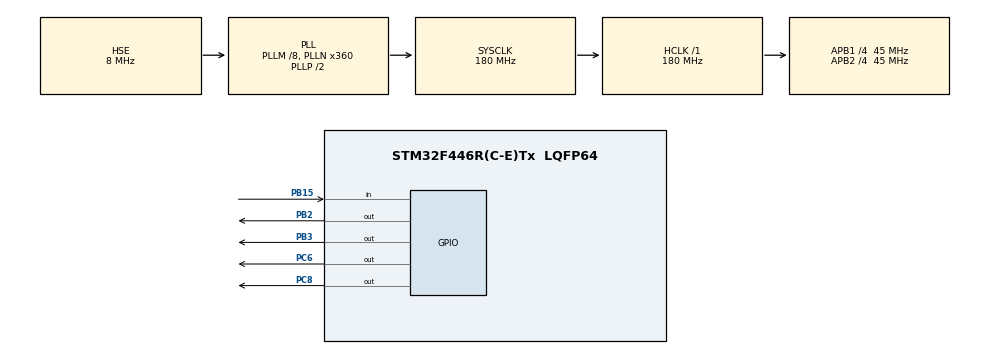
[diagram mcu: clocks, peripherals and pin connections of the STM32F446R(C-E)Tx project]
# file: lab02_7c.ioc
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FREERTOS.Tasks01=defaultTask,24,128,StartDefaultTask,Default,NULL,Dynamic,NULL,NULL;failSafeTask,40,128,failSafeThread,Default,NULL,Dynamic,NULL,NULL
FREERTOS.configUSE_NEWLIB_REENTRANT=1
Mcu.Family=STM32F4
Mcu.Name=STM32F446R(C-E)Tx
Mcu.Package=LQFP64
NVIC.PriorityGroup=NVIC_PRIORITYGROUP_4
NVIC.TIM7_IRQn=true\:15\:0\:false\:false\:true\:false\:false\:true\:true
NVIC.TimeBase=TIM7_IRQn
NVIC.TimeBaseIP=TIM7
NVIC.WWDG_IRQn=true\:5\:0\:false\:false\:true\:true\:true\:true\:true
PA13.Mode=Serial_Wire
PA13.Signal=SYS_JTMS-SWDIO
PA14.Mode=Serial_Wire
PA14.Signal=SYS_JTCK-SWCLK
PB15.Signal=GPIO_Input
PB2.Signal=GPIO_Output
PB3.Signal=GPIO_Output
PC6.Signal=GPIO_Output
PC8.Signal=GPIO_Output
PH0-OSC_IN.Mode=HSE-External-Oscillator
PH0-OSC_IN.Signal=RCC_OSC_IN
PH1-OSC_OUT.Mode=HSE-External-Oscillator
PH1-OSC_OUT.Signal=RCC_OSC_OUT
ProjectManager.HeapSize=0x200
ProjectManager.StackSize=0x400
ProjectManager.TargetToolchain=STM32CubeIDE
RCC.AHBFreq_Value=180000000
RCC.APB1CLKDivider=RCC_HCLK_DIV4
RCC.APB1Freq_Value=45000000
RCC.APB1TimFreq_Value=90000000
RCC.APB2CLKDivider=RCC_HCLK_DIV4
RCC.APB2Freq_Value=45000000
RCC.APB2TimFreq_Value=90000000
RCC.CortexFreq_Value=180000000
RCC.HCLKFreq_Value=180000000
RCC.HSE_VALUE=8000000
RCC.PLLM=8
RCC.PLLN=360
RCC.PLLSourceVirtual=RCC_PLLSOURCE_HSE
RCC.SYSCLKFreq_VALUE=180000000
RCC.SYSCLKSource=RCC_SYSCLKSOURCE_PLLCLK
RCC.USBFreq_Value=180000000
RCC.VCOOutputFreq_Value=360000000
VP_FREERTOS_VS_CMSIS_V2.Mode=CMSIS_V2
VP_SYS_VS_tim7.Mode=TIM7
VP_WWDG_VS_WWDG.Mode=WWDG_Activate
WWDG.Counter=127
WWDG.EWIMode=WWDG_EWI_ENABLE
WWDG.Prescaler=WWDG_PRESCALER_8
WWDG.Window=127
board=custom

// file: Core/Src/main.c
/* USER CODE BEGIN Header */
/**
  ******************************************************************************
  * @file           : main.c
  * @brief          : Main program body
  ******************************************************************************
  * @attention
  *
  * Copyright (c) 2026 STMicroelectronics.
  * All rights reserved.
  *
  * This software is licensed under terms that can be found in the LICENSE file
  * in the root directory of this software component.
  * If no LICENSE file comes with this software, it is provided AS-IS.
  *
  ******************************************************************************
  */
/* USER CODE END Header */
#include "main.h"
#include "cmsis_os.h"

WWDG_HandleTypeDef hwwdg;

/* Definitions for defaultTask */
osThreadId_t defaultTaskHandle;
const osThreadAttr_t defaultTask_attributes = {
  .name = "defaultTask",
  .stack_size = 128 * 4,
  .priority = (osPriority_t) osPriorityNormal,
};
/* Definitions for failSafeTask */
osThreadId_t failSafeTaskHandle;
const osThreadAttr_t failSafeTask_attributes = {
  .name = "failSafeTask",
  .stack_size = 128 * 4,
  .priority = (osPriority_t) osPriorityHigh,
};
/* USER CODE BEGIN PV */
int running=1;
GPIO_TypeDef *ledPort[4] = {GPIOB,GPIOC,GPIOC,GPIOB};
int ledGPIO[4] = {GPIO_PIN_2,GPIO_PIN_6,GPIO_PIN_8,GPIO_PIN_3};
/* USER CODE END PV */

void SystemClock_Config(void);
static void MX_GPIO_Init(void);
static void MX_WWDG_Init(void);
void StartDefaultTask(void *argument);
void failSafeThread(void *argument);

/* USER CODE BEGIN PFP */
void failSafe();
/* USER CODE END PFP */

/* USER CODE BEGIN 0 */
void HAL_WWDG_EarlyWakeupCallback(WWDG_HandleTypeDef *hwwdg){
// We have only one WWDG on F446Re so no source checked
	if(running){ // Prolong the reset
	  HAL_WWDG_Refresh(hwwdg);
	  running=0;
	}
}

void failSafe(){
  //Start fail-save state
  int i,j;
  //Do anything before reboot
  HAL_GPIO_WritePin(ledPort[3],ledGPIO[3],1);
    for(j=0;j<4;j++){
	  for(i=0;i<3;i++){
		 HAL_GPIO_WritePin(ledPort[i],ledGPIO[i],1);
		 HAL_Delay(30);
		 HAL_WWDG_Refresh(&hwwdg);
		 HAL_GPIO_WritePin(ledPort[i],ledGPIO[i],0);
	  }
	}
  HAL_GPIO_WritePin(ledPort[3],ledGPIO[3],0);
  while(1); //Wait for reset
}
/* USER CODE END 0 */

int main(void)
{

  /* USER CODE BEGIN 1 */
  int i;
  /* USER CODE END 1 */

  /* MCU Configuration--------------------------------------------------------*/

  /* Reset of all peripherals, Initializes the Flash interface and the Systick. */
  HAL_Init();

  /* Configure the system clock */
  SystemClock_Config();

  /* Initialize all configured peripherals */
  MX_GPIO_Init();
  MX_WWDG_Init();
  /* USER CODE BEGIN 2 */
  HAL_GPIO_WritePin(ledPort[3],ledGPIO[3],0);
  for(i=0;i<3;i++){
	 HAL_GPIO_WritePin(ledPort[i],ledGPIO[i],1);
  }
  HAL_Delay(30);
  for(i=0;i<3;i++){
	 HAL_GPIO_WritePin(ledPort[i],ledGPIO[i],0);
  }
  /* USER CODE END 2 */

  /* Init scheduler */
  osKernelInitialize();

  /* Create the thread(s) */
  /* creation of defaultTask */
  defaultTaskHandle = osThreadNew(StartDefaultTask, NULL, &defaultTask_attributes);

  /* creation of failSafeTask */
  failSafeTaskHandle = osThreadNew(failSafeThread, NULL, &failSafeTask_attributes);

  /* Start scheduler */
  osKernelStart();

  /* We should never get here as control is now taken by the scheduler */

  /* Infinite loop */
  while (1)
  {

  }
}

void SystemClock_Config(void)
{
  RCC_OscInitTypeDef RCC_OscInitStruct = {0};
  RCC_ClkInitTypeDef RCC_ClkInitStruct = {0};

  /** Configure the main internal regulator output voltage
  */
  __HAL_RCC_PWR_CLK_ENABLE();
  __HAL_PWR_VOLTAGESCALING_CONFIG(PWR_REGULATOR_VOLTAGE_SCALE1);

  /** Initializes the RCC Oscillators according to the specified parameters
  * in the RCC_OscInitTypeDef structure.
  */
  RCC_OscInitStruct.OscillatorType = RCC_OSCILLATORTYPE_HSE;
  RCC_OscInitStruct.HSEState = RCC_HSE_ON;
  RCC_OscInitStruct.PLL.PLLState = RCC_PLL_ON;
  RCC_OscInitStruct.PLL.PLLSource = RCC_PLLSOURCE_HSE;
  RCC_OscInitStruct.PLL.PLLM = 8;
  RCC_OscInitStruct.PLL.PLLN = 360;
  RCC_OscInitStruct.PLL.PLLP = RCC_PLLP_DIV2;
  RCC_OscInitStruct.PLL.PLLQ = 2;
  RCC_OscInitStruct.PLL.PLLR = 2;
  if (HAL_RCC_OscConfig(&RCC_OscInitStruct) != HAL_OK)
  {
    Error_Handler();
  }

  /** Activate the Over-Drive mode
  */
  if (HAL_PWREx_EnableOverDrive() != HAL_OK)
  {
    Error_Handler();
  }

  /** Initializes the CPU, AHB and APB buses clocks
  */
  RCC_ClkInitStruct.ClockType = RCC_CLOCKTYPE_HCLK|RCC_CLOCKTYPE_SYSCLK
                              |RCC_CLOCKTYPE_PCLK1|RCC_CLOCKTYPE_PCLK2;
  RCC_ClkInitStruct.SYSCLKSource = RCC_SYSCLKSOURCE_PLLCLK;
  RCC_ClkInitStruct.AHBCLKDivider = RCC_SYSCLK_DIV1;
  RCC_ClkInitStruct.APB1CLKDivider = RCC_HCLK_DIV4;
  RCC_ClkInitStruct.APB2CLKDivider = RCC_HCLK_DIV4;

  if (HAL_RCC_ClockConfig(&RCC_ClkInitStruct, FLASH_LATENCY_5) != HAL_OK)
  {
    Error_Handler();
  }
}

static void MX_WWDG_Init(void)
{

  hwwdg.Instance = WWDG;
  hwwdg.Init.Prescaler = WWDG_PRESCALER_8;
  hwwdg.Init.Window = 127;
  hwwdg.Init.Counter = 127;
  hwwdg.Init.EWIMode = WWDG_EWI_ENABLE;
  if (HAL_WWDG_Init(&hwwdg) != HAL_OK)
  {
    Error_Handler();
  }

}

static void MX_GPIO_Init(void)
{
  GPIO_InitTypeDef GPIO_InitStruct = {0};

  /* GPIO Ports Clock Enable */
  __HAL_RCC_GPIOH_CLK_ENABLE();
  __HAL_RCC_GPIOB_CLK_ENABLE();
  __HAL_RCC_GPIOC_CLK_ENABLE();
  __HAL_RCC_GPIOA_CLK_ENABLE();

  /*Configure GPIO pin Output Level */
  HAL_GPIO_WritePin(GPIOB, GPIO_PIN_2|GPIO_PIN_3, GPIO_PIN_RESET);

  /*Configure GPIO pin Output Level */
  HAL_GPIO_WritePin(GPIOC, GPIO_PIN_6|GPIO_PIN_8, GPIO_PIN_RESET);

  /*Configure GPIO pins : PB2 PB3 */
  GPIO_InitStruct.Pin = GPIO_PIN_2|GPIO_PIN_3;
  GPIO_InitStruct.Mode = GPIO_MODE_OUTPUT_PP;
  GPIO_InitStruct.Pull = GPIO_NOPULL;
  GPIO_InitStruct.Speed = GPIO_SPEED_FREQ_LOW;
  HAL_GPIO_Init(GPIOB, &GPIO_InitStruct);

  /*Configure GPIO pin : PB15 */
  GPIO_InitStruct.Pin = GPIO_PIN_15;
  GPIO_InitStruct.Mode = GPIO_MODE_INPUT;
  GPIO_InitStruct.Pull = GPIO_NOPULL;
  HAL_GPIO_Init(GPIOB, &GPIO_InitStruct);

  /*Configure GPIO pins : PC6 PC8 */
  GPIO_InitStruct.Pin = GPIO_PIN_6|GPIO_PIN_8;
  GPIO_InitStruct.Mode = GPIO_MODE_OUTPUT_PP;
  GPIO_InitStruct.Pull = GPIO_NOPULL;
  GPIO_InitStruct.Speed = GPIO_SPEED_FREQ_LOW;
  HAL_GPIO_Init(GPIOC, &GPIO_InitStruct);

}

void StartDefaultTask(void *argument)
{
  /* USER CODE BEGIN 5 */
  int i;
  /* Infinite loop */
  for(;;)
  {
		HAL_WWDG_Refresh(&hwwdg);
	    // If system fail to refresh the system will reset itself
		while(!HAL_GPIO_ReadPin(GPIOB,GPIO_PIN_15)) HAL_Delay(1);
	//	if(!running) failSafe();
	    for(i=0;i<3;i++){
		  HAL_GPIO_WritePin(ledPort[i],ledGPIO[i],1);
		  HAL_Delay(10);
		  HAL_GPIO_WritePin(ledPort[i],ledGPIO[i],0);
	    }
  }
  /* USER CODE END 5 */
}

void failSafeThread(void *argument)
{
  /* USER CODE BEGIN failSafeThread */
  /* Infinite loop */
  for(;;)
  {
	if(!running) failSafe();
    osDelay(10);
  }
  /* USER CODE END failSafeThread */
}

void HAL_TIM_PeriodElapsedCallback(TIM_HandleTypeDef *htim)
{
  if (htim->Instance == TIM7)
  {
    HAL_IncTick();
  }
}

void Error_Handler(void)
{
  __disable_irq();
  while (1)
  {
  }
}
